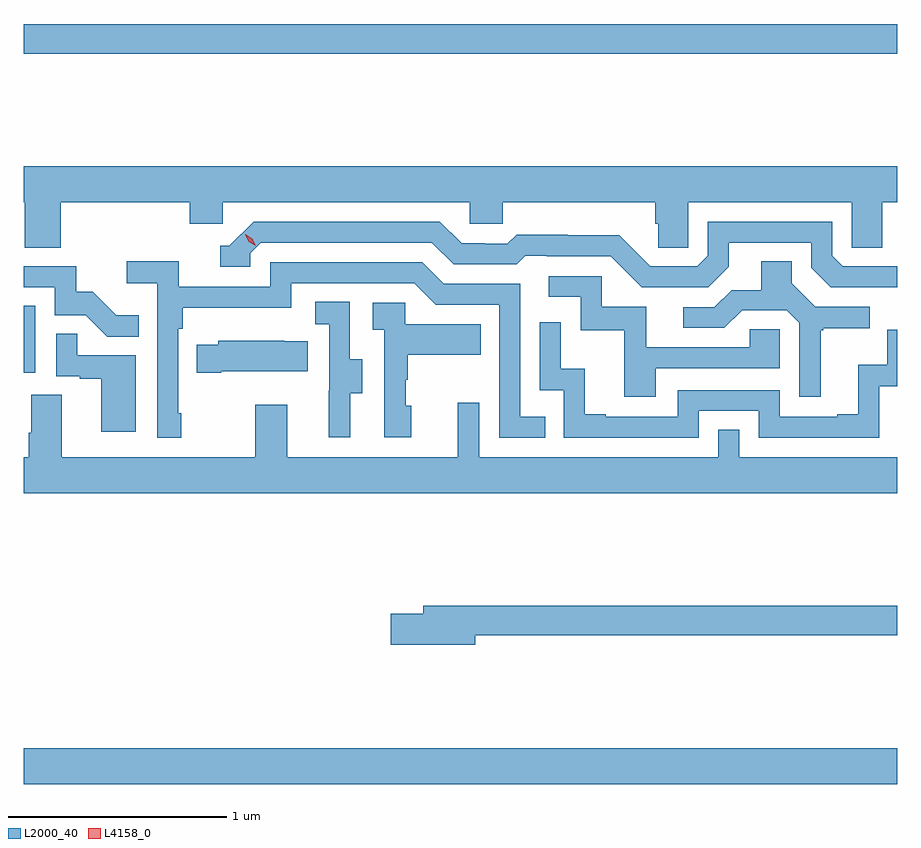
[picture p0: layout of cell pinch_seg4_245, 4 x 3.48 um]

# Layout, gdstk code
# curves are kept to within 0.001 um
import gdstk
lib = gdstk.Library(unit=1e-6, precision=1e-09)
def R(c, l, rs):  # rectangles x0, y0, x1, y1
    for r in rs: c.add(gdstk.rectangle(r[:2], r[2:], *l))
def P(c, l, *ps):  # polygons
    for p in ps: c.add(gdstk.Polygon(p, *l))
L2000_40 = (2000, 40)
L4158_0 = (4158, 0)

pinch_seg4_245 = lib.new_cell('pinch_seg4_245')
R(pinch_seg4_245, L2000_40, [(900.696,812.804,904.696,812.968), (900.696,814.686,900.748,814.993), (900.696,816.148,904.696,816.284)])
P(pinch_seg4_245, L2000_40, [(900.866,815.468),(901.457,815.468),(901.457,815.37),(901.608,815.37),(901.608,815.468),(902.739,815.468),(902.739,815.37),(902.889,815.37),(902.889,815.468),(903.587,815.468),(903.587,815.37),(903.601,815.37),(903.601,815.26),(903.738,815.26),(903.738,815.468),(904.488,815.468),(904.488,815.26),(904.627,815.26),(904.627,815.468),(904.696,815.468),(904.696,815.632),(900.696,815.632),(900.696,815.468),(900.701,815.468),(900.701,815.26),(900.866,815.26)],
  [(904.696,815.175),(904.446,815.175),(904.398,815.223),(904.398,815.379),(903.828,815.379),(903.828,815.223),(903.78,815.175),(903.564,815.175),(903.422,815.317),(903.186,815.317),(903.186,815.32),(902.953,815.32),(902.911,815.277),(902.808,815.277),(902.808,815.28),(902.701,815.28),(902.602,815.379),(901.749,815.379),(901.638,815.268),(901.595,815.268),(901.595,815.172),(901.734,815.172),(901.734,815.235),(901.782,815.283),(902.565,815.283),(902.664,815.184),(902.953,815.184),(902.992,815.223),(903.091,815.223),(903.091,815.22),(903.384,815.22),(903.525,815.079),(903.831,815.079),(903.925,815.173),(903.925,815.283),(904.302,815.283),(904.302,815.169),(904.392,815.079),(904.696,815.078)],
  [(901.417,814.501),(901.404,814.501),(901.404,814.889),(901.424,814.889),(901.424,814.985),(901.92,814.985),(901.92,815.097),(902.484,815.097),(902.583,814.998),(902.874,814.998),(902.874,814.389),(903.083,814.389),(903.083,814.485),(902.97,814.485),(902.97,815.094),(902.62,815.094),(902.521,815.193),(901.824,815.193),(901.824,815.082),(901.406,815.082),(901.406,815.198),(901.167,815.198),(901.167,815.096),(901.308,815.096),(901.308,814.389),(901.417,814.389)],
  [(904.345,814.881),(904.357,814.881),(904.357,814.892),(904.57,814.892),(904.57,814.989),(904.32,814.989),(904.213,815.096),(904.213,815.198),(904.073,815.198),(904.073,815.066),(903.938,815.066),(903.858,814.986),(903.717,814.986),(903.717,814.893),(903.904,814.893),(903.985,814.974),(904.191,814.974),(904.248,814.917),(904.248,814.578),(904.345,814.578)],
  [(901.223,814.951),(901.119,814.951),(901.012,815.058),(900.936,815.058),(900.936,815.175),(900.696,815.175),(900.696,815.079),(900.837,815.079),(900.837,814.95),(900.981,814.95),(901.079,814.852),(901.223,814.852)],
  [(903.589,814.707),(904.158,814.707),(904.158,814.887),(904.021,814.887),(904.021,814.803),(903.547,814.803),(903.547,814.989),(903.342,814.989),(903.342,815.13),(903.099,815.13),(903.099,815.034),(903.246,815.034),(903.246,814.881),(903.445,814.881),(903.445,814.578),(903.589,814.578)],
  [(902.191,814.594),(902.245,814.594),(902.245,814.749),(902.19,814.749),(902.19,815.012),(902.031,815.012),(902.031,814.909),(902.094,814.909),(902.094,814.605),(902.093,814.605),(902.093,814.392),(902.191,814.392)],
  [(902.47,814.536),(902.445,814.536),(902.445,814.655),(902.455,814.655),(902.455,814.769),(902.789,814.769),(902.789,814.909),(902.442,814.909),(902.442,815.007),(902.295,815.007),(902.295,814.883),(902.346,814.883),(902.346,814.392),(902.47,814.392)],
  [(903.786,814.512),(904.062,814.512),(904.062,814.389),(904.614,814.389),(904.614,814.625),(904.696,814.625),(904.696,814.884),(904.65,814.884),(904.65,814.723),(904.517,814.723),(904.517,814.498),(904.421,814.498),(904.421,814.485),(904.158,814.485),(904.158,814.608),(903.69,814.608),(903.69,814.485),(903.361,814.485),(903.361,814.498),(903.266,814.498),(903.266,814.706),(903.156,814.706),(903.156,814.918),(903.06,814.918),(903.06,814.608),(903.168,814.608),(903.168,814.389),(903.786,814.389)],
  [(901.21,814.767),(900.941,814.767),(900.941,814.865),(900.846,814.865),(900.846,814.671),(900.953,814.671),(900.953,814.659),(901.052,814.659),(901.052,814.416),(901.21,814.416)],
  [(901.6,814.694),(901.997,814.694),(901.997,814.831),(901.889,814.831),(901.889,814.834),(901.587,814.834),(901.587,814.816),(901.489,814.816),(901.489,814.687),(901.6,814.687)],
  [(904.696,814.3),(903.972,814.3),(903.972,814.427),(903.876,814.427),(903.876,814.3),(902.781,814.3),(902.781,814.549),(902.684,814.549),(902.684,814.3),(901.903,814.3),(901.903,814.54),(901.756,814.54),(901.756,814.3),(900.871,814.3),(900.871,814.586),(900.731,814.586),(900.731,814.412),(900.719,814.412),(900.719,814.3),(900.696,814.3),(900.696,814.136),(904.696,814.136)],
  [(902.764,813.484),(904.696,813.484),(904.696,813.62),(902.525,813.62),(902.525,813.584),(902.376,813.584),(902.376,813.442),(902.764,813.442)])
P(pinch_seg4_245, L4158_0, [(901.758,815.269),(901.727,815.288),(901.71,815.32),(901.71,815.321),(901.711,815.321),(901.742,815.301),(901.758,815.269),(901.758,815.269)])

lib.write_gds('pinch_seg4_245.gds')
